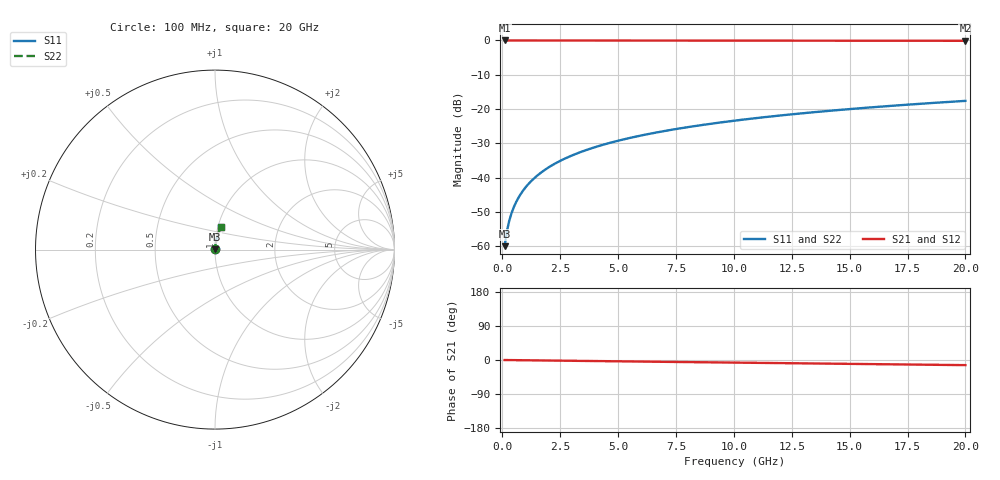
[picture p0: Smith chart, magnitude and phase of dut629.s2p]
! Touchstone file exported from HFSS 2026.1.0
!  File:  C:/ffzhzh/LocalFiles/Ansys_Project_Files/temp_train_TMRDL_629_1783009134_51716.aedt
!  Generated:  12:20:28 AM Jul  3, 2026
!  Design:  TMRDL
!  Project:  temp_train_TMRDL_629_1783009134_51716
! Variables:
!  h_bsmrdl = 2um
!  h_ox = 20um
!  h_rdl = 5um
!  h_sub = 80um
!  h_tmrdl = 5.62um
!  h_tsv = 80um
!  h_via = 3um
!  l_bsmrdl = 300um
!  l_sub = 569.78um
!  l_tmrdl = 169.78um
!  m_sub = 200um
!  pitch = 46.67um
!  r_tsv = 6um
!  s_tmrdl = 10um
!  w_bsmrdl = 18um
!  w_sub = 500um
!  w_tmrdl = 21.08um
!  x_tsv_center1 = 180.32um
!  x_tsv_center2 = 498.32um
!  x_tsv_center3 = 689.18um
!  x_tsv_center4 = 1007.18um
!  x_tsv_center5 = 1198.04um
!  x_tsv_center6 = 1516.04um
# GHz S MA R 50.000000
! Terminal data exported
! Port[1] = TM_RDL1_1_T1
! Port[2] = TM_RDL1_1_T2
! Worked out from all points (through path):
!   200 points, 100 MHz to 20 GHz, reference 50 ohm
!   highest |S21| = -0.01 dB at 100 MHz (marker M1); lowest = -0.1 dB at 20 GHz (marker M2)
!   group delay of S21, straight-line fit = 1.88 ps
!   lowest |S11| = -60.0 dB at 100 MHz (marker M3), VSWR 1.00, Z = 50.1 + j0.0761 ohm
!   |S11| at or under -10 dB: start of sweep to end of sweep
!   |S22| runs from -60.0 to -17.6 dB; largest |S21 - S12| = 2.7e-15
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0.1  0.0009973 49.6  0.9994 -0.1  0.9994 -0.1  0.0009973 49.6
! Gamma 0 0 0 0
! Port Impedance 50 0 50 0
0.2  0.001651 65.5  0.9993 -0.1  0.9993 -0.1  0.001651 65.5
0.3  0.00234 71.8  0.9993 -0.2  0.9993 -0.2  0.00234 71.8
0.4  0.003029 75.1  0.9992 -0.3  0.9992 -0.3  0.003029 75.1
0.5  0.003717 77.3  0.9992 -0.4  0.9992 -0.4  0.003717 77.3
0.7  0.005091 80.0  0.9991 -0.5  0.9991 -0.5  0.005091 80.0
0.8  0.005779 80.9  0.9991 -0.6  0.9991 -0.6  0.005779 80.9
1  0.007158 82.1  0.9991 -0.7  0.9991 -0.7  0.007158 82.1
1.2  0.008541 82.9  0.999 -0.8  0.999 -0.8  0.008541 82.9
1.4  0.009925 83.4  0.999 -1.0  0.999 -1.0  0.009925 83.4
1.7  0.012 83.9  0.9989 -1.2  0.9989 -1.2  0.012 83.9
2  0.01407 84.2  0.9988 -1.4  0.9988 -1.4  0.01407 84.2
2.7  0.01888 84.4  0.9986 -1.9  0.9986 -1.9  0.01888 84.4
3.5  0.02434 84.2  0.9983 -2.4  0.9983 -2.4  0.02434 84.2
4.2  0.02907 83.9  0.998 -2.9  0.998 -2.9  0.02907 83.9
5  0.03443 83.6  0.9976 -3.5  0.9976 -3.5  0.03443 83.6
6.8  0.04638 82.7  0.9968 -4.7  0.9968 -4.7  0.04638 82.7
8.3  0.05626 81.9  0.996 -5.7  0.996 -5.7  0.05626 81.8
10.1  0.06803 80.8  0.995 -6.9  0.995 -6.9  0.06803 80.8
13.4  0.08943 78.9  0.993 -9.1  0.993 -9.1  0.08943 78.9
16.7  0.1105 76.9  0.9905 -11.4  0.9905 -11.4  0.1105 76.9
20  0.1313 74.8  0.9876 -13.6  0.9876 -13.6  0.1313 74.8
